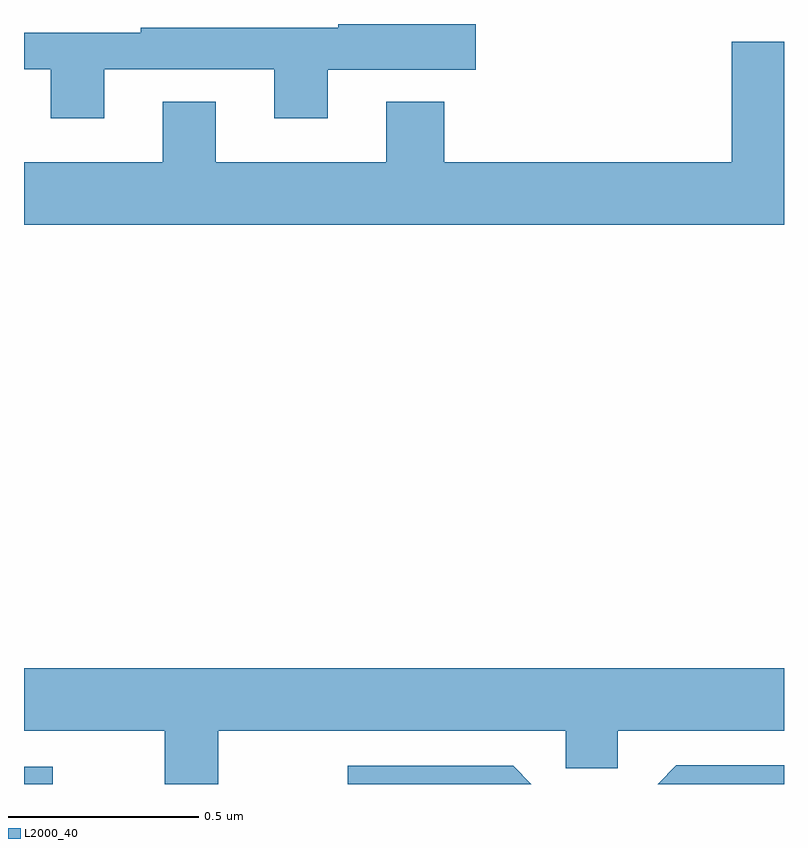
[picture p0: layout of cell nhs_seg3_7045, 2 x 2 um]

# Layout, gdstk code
import gdstk
lib = gdstk.Library(unit=1e-6, precision=1e-09)
def R(c, l, rs):  # rectangles x0, y0, x1, y1
    for r in rs: c.add(gdstk.rectangle(r[:2], r[2:], *l))
def P(c, l, *ps):  # polygons
    for p in ps: c.add(gdstk.Polygon(p, *l))
L2000_40 = (2000, 40)

nhs_seg3_7045 = lib.new_cell('nhs_seg3_7045')
R(nhs_seg3_7045, L2000_40, [(198,743.4,198.076,743.445)])
P(nhs_seg3_7045, L2000_40, [(198.211,745.281),(198.659,745.281),(198.659,745.152),(198.799,745.152),(198.799,745.28),(199.189,745.28),(199.189,745.4),(198.827,745.4),(198.827,745.39),(198.307,745.39),(198.307,745.377),(198,745.377),(198,745.281),(198.071,745.281),(198.071,745.152),(198.211,745.152)],
  [(200,745.353),(199.862,745.353),(199.862,745.036),(199.106,745.036),(199.106,745.195),(198.953,745.195),(198.953,745.036),(198.505,745.036),(198.505,745.196),(198.365,745.196),(198.365,745.036),(198,745.036),(198,744.872),(200,744.872)],
  [(198.511,743.54),(199.425,743.54),(199.425,743.442),(199.563,743.442),(199.563,743.54),(200,743.54),(200,743.704),(198,743.704),(198,743.54),(198.371,743.54),(198.371,743.4),(198.511,743.4)],
  [(200,743.449),(199.717,743.449),(199.668,743.4),(200,743.4)],
  [(199.287,743.448),(198.852,743.448),(198.852,743.4),(199.335,743.4)])

lib.write_gds('nhs_seg3_7045.gds')
